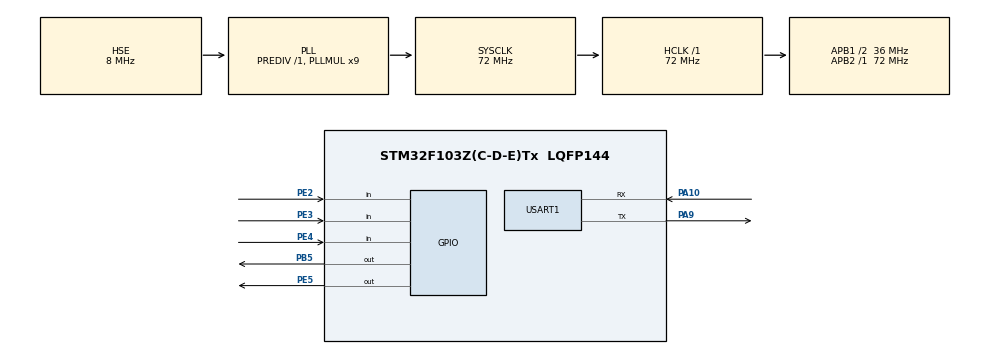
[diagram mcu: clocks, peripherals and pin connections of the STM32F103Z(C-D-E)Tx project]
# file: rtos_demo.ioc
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FREERTOS.Tasks01=defaultTask,0,128,StartDefaultTask,Default,NULL,Dynamic,NULL,NULL;myTask02,-2,128,led,Default,NULL,Dynamic,NULL,NULL;myTask03,-1,128,key,Default,NULL,Dynamic,NULL,NULL;myTask04,0,512,uart,Default,NULL,Dynamic,NULL,NULL
FREERTOS.configTOTAL_HEAP_SIZE=6144
Mcu.Family=STM32F1
Mcu.Name=STM32F103Z(C-D-E)Tx
Mcu.Package=LQFP144
NVIC.PriorityGroup=NVIC_PRIORITYGROUP_4
NVIC.TIM4_IRQn=true\:0\:0\:false\:false\:true\:false
NVIC.TimeBase=TIM4_IRQn
NVIC.TimeBaseIP=TIM4
OSC_IN.Mode=HSE-External-Oscillator
OSC_IN.Signal=RCC_OSC_IN
OSC_OUT.Mode=HSE-External-Oscillator
OSC_OUT.Signal=RCC_OSC_OUT
PA10.Mode=Asynchronous
PA10.Signal=USART1_RX
PA9.Mode=Asynchronous
PA9.Signal=USART1_TX
PB5.Signal=GPIO_Output
PC14-OSC32_IN.Mode=LSE-External-Oscillator
PC14-OSC32_IN.Signal=RCC_OSC32_IN
PC15-OSC32_OUT.Mode=LSE-External-Oscillator
PC15-OSC32_OUT.Signal=RCC_OSC32_OUT
PE2.Signal=GPIO_Input
PE3.Signal=GPIO_Input
PE4.Signal=GPIO_Input
PE5.Signal=GPIO_Output
ProjectManager.HeapSize=0x400
ProjectManager.StackSize=0x800
ProjectManager.TargetToolchain=MDK-ARM V5
RCC.AHBFreq_Value=72000000
RCC.APB1CLKDivider=RCC_HCLK_DIV2
RCC.APB1Freq_Value=36000000
RCC.APB1TimFreq_Value=72000000
RCC.APB2Freq_Value=72000000
RCC.APB2TimFreq_Value=72000000
RCC.HCLKFreq_Value=72000000
RCC.PLLMUL=RCC_PLL_MUL9
RCC.PLLSourceVirtual=RCC_PLLSOURCE_HSE
RCC.SYSCLKFreq_VALUE=72000000
RCC.SYSCLKSource=RCC_SYSCLKSOURCE_PLLCLK
RCC.USBFreq_Value=72000000
USART1.VirtualMode=VM_ASYNC
VP_FREERTOS_VS_ENABLE.Mode=Enabled
VP_SYS_VS_tim4.Mode=TIM4
board=rtos_demo

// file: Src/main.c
/**
  ******************************************************************************
  * File Name          : main.c
  * Description        : Main program body
  ******************************************************************************
  * This notice applies to any and all portions of this file
  * that are not between comment pairs USER CODE BEGIN and
  * USER CODE END. Other portions of this file, whether
  * inserted by the user or by software development tools
  * are owned by their respective copyright owners.
  *
  * Copyright (c) 2017 STMicroelectronics International N.V.
  * All rights reserved.
  *
  * Redistribution and use in source and binary forms, with or without
  * modification, are permitted, provided that the following conditions are met:
  *
  * 1. Redistribution of source code must retain the above copyright notice,
  *    this list of conditions and the following disclaimer.
  * 2. Redistributions in binary form must reproduce the above copyright notice,
  *    this list of conditions and the following disclaimer in the documentation
  *    and/or other materials provided with the distribution.
  * 3. Neither the name of STMicroelectronics nor the names of other
  *    contributors to this software may be used to endorse or promote products
  *    derived from this software without specific written permission.
  * 4. This software, including modifications and/or derivative works of this
  *    software, must execute solely and exclusively on microcontroller or
  *    microprocessor devices manufactured by or for STMicroelectronics.
  * 5. Redistribution and use of this software other than as permitted under
  *    this license is void and will automatically terminate your rights under
  *    this license.
  *
  * THIS SOFTWARE IS PROVIDED BY STMICROELECTRONICS AND CONTRIBUTORS "AS IS"
  * AND ANY EXPRESS, IMPLIED OR STATUTORY WARRANTIES, INCLUDING, BUT NOT
  * LIMITED TO, THE IMPLIED WARRANTIES OF MERCHANTABILITY, FITNESS FOR A
  * PARTICULAR PURPOSE AND NON-INFRINGEMENT OF THIRD PARTY INTELLECTUAL PROPERTY
  * RIGHTS ARE DISCLAIMED TO THE FULLEST EXTENT PERMITTED BY LAW. IN NO EVENT
  * SHALL STMICROELECTRONICS OR CONTRIBUTORS BE LIABLE FOR ANY DIRECT, INDIRECT,
  * INCIDENTAL, SPECIAL, EXEMPLARY, OR CONSEQUENTIAL DAMAGES (INCLUDING, BUT NOT
  * LIMITED TO, PROCUREMENT OF SUBSTITUTE GOODS OR SERVICES; LOSS OF USE, DATA,
  * OR PROFITS; OR BUSINESS INTERRUPTION) HOWEVER CAUSED AND ON ANY THEORY OF
  * LIABILITY, WHETHER IN CONTRACT, STRICT LIABILITY, OR TORT (INCLUDING
  * NEGLIGENCE OR OTHERWISE) ARISING IN ANY WAY OUT OF THE USE OF THIS SOFTWARE,
  * EVEN IF ADVISED OF THE POSSIBILITY OF SUCH DAMAGE.
  *
  ******************************************************************************
  */
#include "main.h"
#include "stm32f1xx_hal.h"
#include "cmsis_os.h"
#include "usart.h"
#include "gpio.h"

/* USER CODE BEGIN PV */
/* Private variables ---------------------------------------------------------*/

/* USER CODE END PV */

void SystemClock_Config(void);
void MX_FREERTOS_Init(void);

/* USER CODE BEGIN PFP */
/* Private function prototypes -----------------------------------------------*/

/* USER CODE END PFP */

int main(void)
{

  /* MCU Configuration----------------------------------------------------------*/

  /* Reset of all peripherals, Initializes the Flash interface and the Systick. */
  HAL_Init();

  /* Configure the system clock */
  SystemClock_Config();

  /* Initialize all configured peripherals */
  MX_GPIO_Init();
  MX_USART1_UART_Init();

  /* Call init function for freertos objects (in freertos.c) */
  MX_FREERTOS_Init();

  /* Start scheduler */
  osKernelStart();

  /* We should never get here as control is now taken by the scheduler */

  /* Infinite loop */
  while (1)
  {

  }

}

/** System Clock Configuration
*/
void SystemClock_Config(void)
{

  RCC_OscInitTypeDef RCC_OscInitStruct;
  RCC_ClkInitTypeDef RCC_ClkInitStruct;

    /**Initializes the CPU, AHB and APB busses clocks
    */
  RCC_OscInitStruct.OscillatorType = RCC_OSCILLATORTYPE_HSE;
  RCC_OscInitStruct.HSEState = RCC_HSE_ON;
  RCC_OscInitStruct.HSEPredivValue = RCC_HSE_PREDIV_DIV1;
  RCC_OscInitStruct.HSIState = RCC_HSI_ON;
  RCC_OscInitStruct.PLL.PLLState = RCC_PLL_ON;
  RCC_OscInitStruct.PLL.PLLSource = RCC_PLLSOURCE_HSE;
  RCC_OscInitStruct.PLL.PLLMUL = RCC_PLL_MUL9;
  if (HAL_RCC_OscConfig(&RCC_OscInitStruct) != HAL_OK)
  {
    _Error_Handler(__FILE__, __LINE__);
  }

    /**Initializes the CPU, AHB and APB busses clocks
    */
  RCC_ClkInitStruct.ClockType = RCC_CLOCKTYPE_HCLK|RCC_CLOCKTYPE_SYSCLK
                              |RCC_CLOCKTYPE_PCLK1|RCC_CLOCKTYPE_PCLK2;
  RCC_ClkInitStruct.SYSCLKSource = RCC_SYSCLKSOURCE_PLLCLK;
  RCC_ClkInitStruct.AHBCLKDivider = RCC_SYSCLK_DIV1;
  RCC_ClkInitStruct.APB1CLKDivider = RCC_HCLK_DIV2;
  RCC_ClkInitStruct.APB2CLKDivider = RCC_HCLK_DIV1;

  if (HAL_RCC_ClockConfig(&RCC_ClkInitStruct, FLASH_LATENCY_2) != HAL_OK)
  {
    _Error_Handler(__FILE__, __LINE__);
  }

    /**Configure the Systick interrupt time
    */
  HAL_SYSTICK_Config(HAL_RCC_GetHCLKFreq()/1000);

    /**Configure the Systick
    */
  HAL_SYSTICK_CLKSourceConfig(SYSTICK_CLKSOURCE_HCLK);

  /* SysTick_IRQn interrupt configuration */
  HAL_NVIC_SetPriority(SysTick_IRQn, 15, 0);
}

void HAL_TIM_PeriodElapsedCallback(TIM_HandleTypeDef *htim)
{
  if (htim->Instance == TIM4) {
    HAL_IncTick();
  }
}

void _Error_Handler(char * file, int line)
{
  while(1)
  {
  }
}

/************************ (C) COPYRIGHT STMicroelectronics *****END OF FILE****/

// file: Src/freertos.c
/**
  ******************************************************************************
  * File Name          : freertos.c
  * Description        : Code for freertos applications
  ******************************************************************************
  * This notice applies to any and all portions of this file
  * that are not between comment pairs USER CODE BEGIN and
  * USER CODE END. Other portions of this file, whether
  * inserted by the user or by software development tools
  * are owned by their respective copyright owners.
  *
  * Copyright (c) 2017 STMicroelectronics International N.V.
  * All rights reserved.
  *
  * Redistribution and use in source and binary forms, with or without
  * modification, are permitted, provided that the following conditions are met:
  *
  * 1. Redistribution of source code must retain the above copyright notice,
  *    this list of conditions and the following disclaimer.
  * 2. Redistributions in binary form must reproduce the above copyright notice,
  *    this list of conditions and the following disclaimer in the documentation
  *    and/or other materials provided with the distribution.
  * 3. Neither the name of STMicroelectronics nor the names of other
  *    contributors to this software may be used to endorse or promote products
  *    derived from this software without specific written permission.
  * 4. This software, including modifications and/or derivative works of this
  *    software, must execute solely and exclusively on microcontroller or
  *    microprocessor devices manufactured by or for STMicroelectronics.
  * 5. Redistribution and use of this software other than as permitted under
  *    this license is void and will automatically terminate your rights under
  *    this license.
  *
  * THIS SOFTWARE IS PROVIDED BY STMICROELECTRONICS AND CONTRIBUTORS "AS IS"
  * AND ANY EXPRESS, IMPLIED OR STATUTORY WARRANTIES, INCLUDING, BUT NOT
  * LIMITED TO, THE IMPLIED WARRANTIES OF MERCHANTABILITY, FITNESS FOR A
  * PARTICULAR PURPOSE AND NON-INFRINGEMENT OF THIRD PARTY INTELLECTUAL PROPERTY
  * RIGHTS ARE DISCLAIMED TO THE FULLEST EXTENT PERMITTED BY LAW. IN NO EVENT
  * SHALL STMICROELECTRONICS OR CONTRIBUTORS BE LIABLE FOR ANY DIRECT, INDIRECT,
  * INCIDENTAL, SPECIAL, EXEMPLARY, OR CONSEQUENTIAL DAMAGES (INCLUDING, BUT NOT
  * LIMITED TO, PROCUREMENT OF SUBSTITUTE GOODS OR SERVICES; LOSS OF USE, DATA,
  * OR PROFITS; OR BUSINESS INTERRUPTION) HOWEVER CAUSED AND ON ANY THEORY OF
  * LIABILITY, WHETHER IN CONTRACT, STRICT LIABILITY, OR TORT (INCLUDING
  * NEGLIGENCE OR OTHERWISE) ARISING IN ANY WAY OUT OF THE USE OF THIS SOFTWARE,
  * EVEN IF ADVISED OF THE POSSIBILITY OF SUCH DAMAGE.
  *
  ******************************************************************************
  */

#include "FreeRTOS.h"
#include "task.h"
#include "cmsis_os.h"

/* USER CODE BEGIN Includes */
#include "stm32f1xx_hal.h"

/* USER CODE END Includes */

osThreadId defaultTaskHandle;
osThreadId myTask02Handle;
osThreadId myTask03Handle;
osThreadId myTask04Handle;

/* USER CODE BEGIN Variables */
SemaphoreHandle_t sem_key;

/* USER CODE END Variables */

void StartDefaultTask(void const * argument);
void led(void const * argument);
void key(void const * argument);
void uart(void const * argument);

void MX_FREERTOS_Init(void); /* (MISRA C 2004 rule 8.1) */

/* Hook prototypes */

/* Init FreeRTOS */

void MX_FREERTOS_Init(void) {
  /* USER CODE BEGIN Init */
sem_key=xSemaphoreCreateBinary();
  /* USER CODE END Init */

  /* Create the thread(s) */
  /* definition and creation of defaultTask */
  osThreadDef(defaultTask, StartDefaultTask, osPriorityNormal, 0, 128);
  defaultTaskHandle = osThreadCreate(osThread(defaultTask), NULL);

  /* definition and creation of myTask02 */
  osThreadDef(myTask02, led, osPriorityLow, 0, 128);
  myTask02Handle = osThreadCreate(osThread(myTask02), NULL);

  /* definition and creation of myTask03 */
  osThreadDef(myTask03, key, osPriorityBelowNormal, 0, 128);
  myTask03Handle = osThreadCreate(osThread(myTask03), NULL);

  /* definition and creation of myTask04 */
  osThreadDef(myTask04, uart, osPriorityNormal, 0, 512);
  myTask04Handle = osThreadCreate(osThread(myTask04), NULL);

}

/* StartDefaultTask function */
void StartDefaultTask(void const * argument)
{

  for(;;)
  {
    osDelay(1);
  }
}

/* led function */
void led(void const * argument)
{
  /* USER CODE BEGIN led */
  /* Infinite loop */
  for(;;)
  {
		HAL_GPIO_TogglePin(GPIOE,GPIO_PIN_5);
    osDelay(500);
  }
  /* USER CODE END led */
}

/* key function */
void key(void const * argument)
{
  /* USER CODE BEGIN key */
static uint8_t k1=0;
static uint8_t k2=0;
static uint8_t k3=0;
static uint8_t flag=0;
  /* Infinite loop */
  for(;;)
  {
		flag=0;

		if(!HAL_GPIO_ReadPin(GPIOE,GPIO_PIN_2)){
			k1++;
			flag=1;
		}

		if(!HAL_GPIO_ReadPin(GPIOE,GPIO_PIN_3)){
			k2++;
			flag=1;
		}

		if(!HAL_GPIO_ReadPin(GPIOE,GPIO_PIN_4)){
			k3++;
			flag=1;
		}

		if(k1>5){
			xSemaphoreGive(sem_key);
			k1=0;
		}

    osDelay(20);
  }
  /* USER CODE END key */
}

/* uart function */
void uart(void const * argument)
{
  /* USER CODE BEGIN uart */
  /* Infinite loop */
  for(;;)
  {
  	xSemaphoreTake(sem_key,portMAX_DELAY);
		printf("get sem key !!\r\n");
		osDelay(1);
  }
  /* USER CODE END uart */
}

/************************ (C) COPYRIGHT STMicroelectronics *****END OF FILE****/
